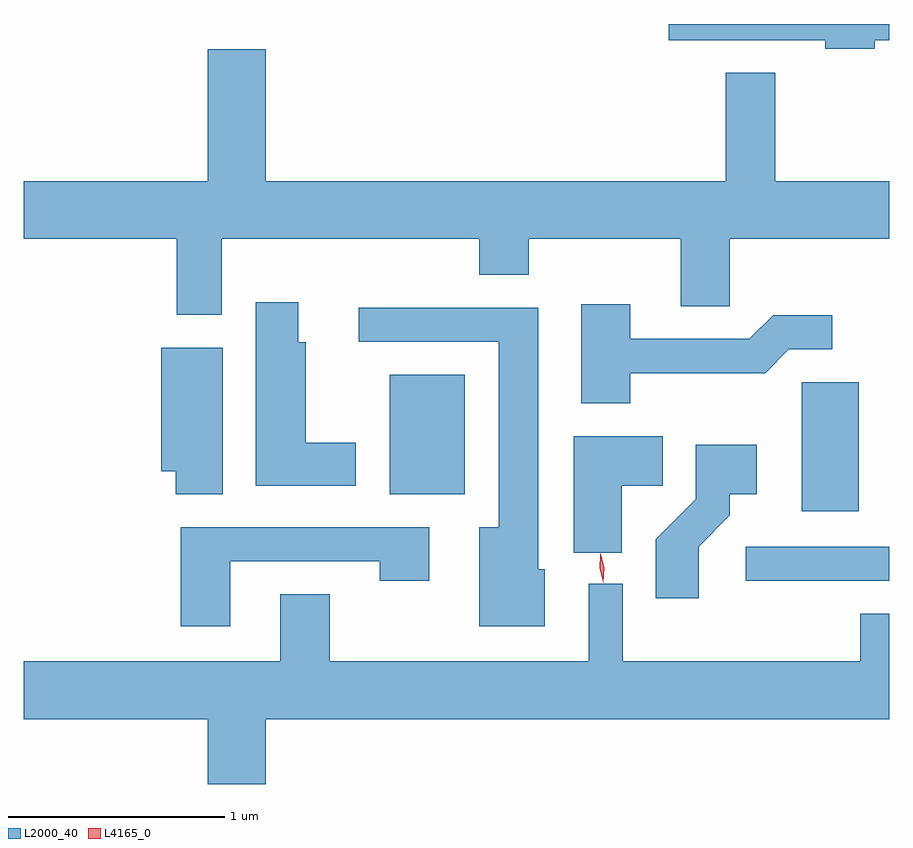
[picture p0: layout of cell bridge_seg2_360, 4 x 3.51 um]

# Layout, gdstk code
import gdstk
lib = gdstk.Library(unit=1e-6, precision=1e-09)
def R(c, l, rs):  # rectangles x0, y0, x1, y1
    for r in rs: c.add(gdstk.rectangle(r[:2], r[2:], *l))
def P(c, l, *ps):  # polygons
    for p in ps: c.add(gdstk.Polygon(p, *l))
L2000_40 = (2000, 40)
L4165_0 = (4165, 0)

bridge_seg2_360 = lib.new_cell('bridge_seg2_360')
R(bridge_seg2_360, L2000_40, [(477.303,1011.216,477.965,1011.374), (477.561,1011.536,477.824,1012.134), (475.656,1011.616,476.004,1012.169)])
P(bridge_seg2_360, L2000_40, [(477.899,1013.716),(477.965,1013.716),(477.965,1013.79),(476.946,1013.79),(476.946,1013.716),(477.671,1013.716),(477.671,1013.676),(477.899,1013.676)],
  [(474.879,1012.796),(476.071,1012.796),(476.071,1012.631),(476.299,1012.631),(476.299,1012.796),(477.001,1012.796),(477.001,1012.486),(477.229,1012.486),(477.229,1012.796),(477.965,1012.796),(477.965,1013.064),(477.439,1013.064),(477.439,1013.564),(477.211,1013.564),(477.211,1013.064),(475.084,1013.064),(475.084,1013.674),(474.816,1013.674),(474.816,1013.064),(473.965,1013.064),(473.965,1012.796),(474.671,1012.796),(474.671,1012.446),(474.879,1012.446)],
  [(475.499,1011.854),(475.269,1011.854),(475.269,1012.319),(475.234,1012.319),(475.234,1012.504),(475.036,1012.504),(475.036,1011.656),(475.499,1011.656)],
  [(476.769,1012.176),(477.392,1012.176),(477.502,1012.286),(477.703,1012.286),(477.703,1012.444),(477.429,1012.444),(477.319,1012.334),(476.769,1012.334),(476.769,1012.494),(476.541,1012.494),(476.541,1012.036),(476.769,1012.036)],
  [(476.374,1011.269),(476.344,1011.269),(476.344,1012.479),(475.513,1012.479),(475.513,1012.321),(476.161,1012.321),(476.161,1011.464),(476.071,1011.464),(476.071,1011.006),(476.374,1011.006)],
  [(474.884,1012.294),(474.601,1012.294),(474.601,1011.721),(474.666,1011.721),(474.666,1011.616),(474.884,1011.616)],
  [(476.729,1011.656),(476.919,1011.656),(476.919,1011.884),(476.506,1011.884),(476.506,1011.346),(476.729,1011.346)],
  [(477.084,1011.374),(477.229,1011.519),(477.229,1011.616),(477.354,1011.616),(477.354,1011.844),(477.071,1011.844),(477.071,1011.592),(476.886,1011.407),(476.886,1011.136),(477.084,1011.136)],
  [(474.919,1011.306),(475.611,1011.306),(475.611,1011.216),(475.839,1011.216),(475.839,1011.464),(474.691,1011.464),(474.691,1011.006),(474.919,1011.006)],
  [(475.084,1010.576),(477.965,1010.576),(477.965,1011.064),(477.831,1011.064),(477.831,1010.844),(476.734,1010.844),(476.734,1011.203),(476.576,1011.203),(476.576,1010.844),(475.379,1010.844),(475.379,1011.154),(475.151,1011.154),(475.151,1010.844),(473.965,1010.844),(473.965,1010.576),(474.816,1010.576),(474.816,1010.276),(475.084,1010.276)])
P(bridge_seg2_360, L4165_0, [(476.644,1011.207),(476.643,1011.208),(476.627,1011.273),(476.63,1011.339),(476.631,1011.34),(476.631,1011.339),(476.647,1011.275),(476.644,1011.208)])

lib.write_gds('bridge_seg2_360.gds')
